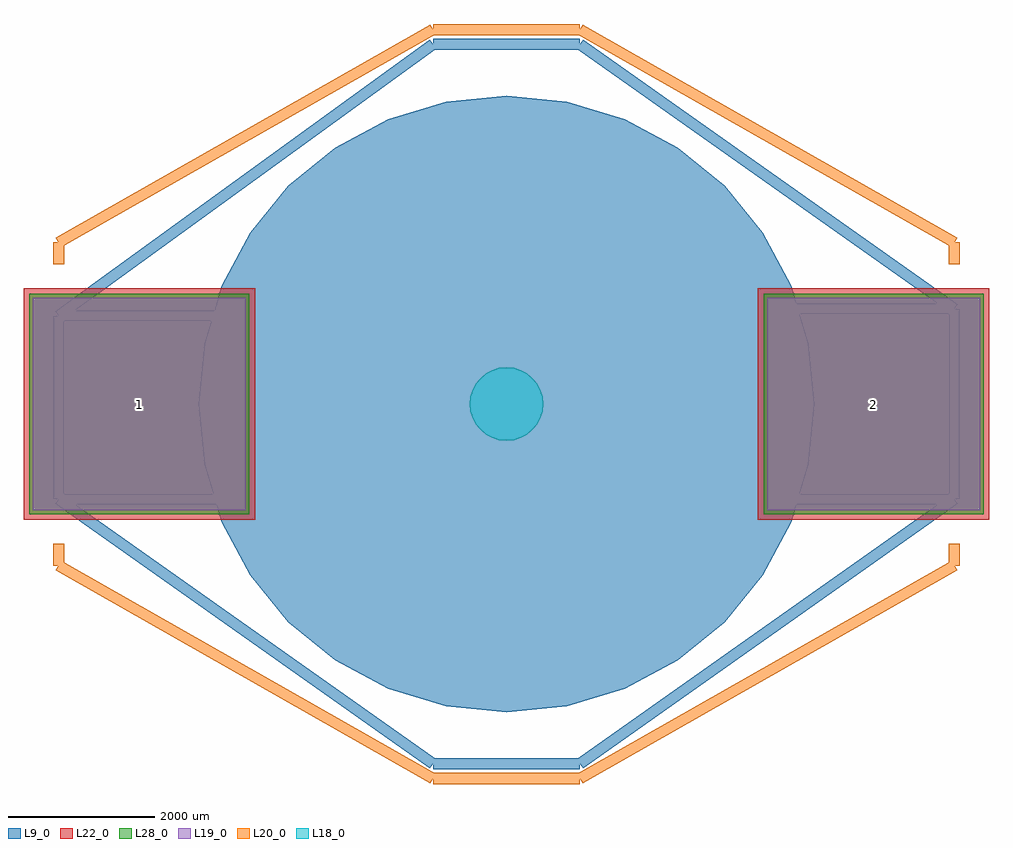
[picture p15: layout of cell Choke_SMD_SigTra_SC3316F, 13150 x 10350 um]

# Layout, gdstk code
import gdstk
lib = gdstk.Library(unit=1e-6, precision=1e-09)
def R(c, l, rs):  # rectangles x0, y0, x1, y1
    for r in rs: c.add(gdstk.rectangle(r[:2], r[2:], *l))
def P(c, l, *ps):  # polygons
    for p in ps: c.add(gdstk.Polygon(p, *l))
L9_0 = (9, 0)
L18_0 = (18, 0)
L19_0 = (19, 0)
L20_0 = (20, 0)
L22_0 = (22, 0)
L28_0 = (28, 0)

choke_smd_sigtra_sc3316f = lib.new_cell('Choke_SMD_SigTra_SC3316F')
P(choke_smd_sigtra_sc3316f, L9_0, [(4200,0),(4119.298,819.379),(3880.294,1607.27),(3492.172,2333.395),(2969.848,2969.848),(2333.395,3492.172),(1607.27,3880.294),(819.379,4119.298),(0,4200),(-819.379,4119.298),(-1607.27,3880.294),(-2333.395,3492.172),(-2969.848,2969.848),(-3492.172,2333.395),(-3880.294,1607.27),(-4119.298,819.379),(-4200,0),(-4119.298,-819.379),(-3880.294,-1607.27),(-3492.172,-2333.395),(-2969.848,-2969.848),(-2333.395,-3492.172),(-1607.27,-3880.294),(-819.379,-4119.298),(0,-4200),(819.379,-4119.298),(1607.27,-3880.294),(2333.395,-3492.172),(2969.848,-2969.848),(3492.172,-2333.395),(3880.294,-1607.27),(4119.298,-819.379)])
P(choke_smd_sigtra_sc3316f, L18_0, [(500,0),(490.393,97.545),(461.94,191.342),(415.735,277.785),(353.553,353.553),(277.785,415.735),(191.342,461.94),(97.545,490.393),(0,500),(-97.545,490.393),(-191.342,461.94),(-277.785,415.735),(-353.553,353.553),(-415.735,277.785),(-461.94,191.342),(-490.393,97.545),(-500,0),(-490.393,-97.545),(-461.94,-191.342),(-415.735,-277.785),(-353.553,-353.553),(-277.785,-415.735),(-191.342,-461.94),(-97.545,-490.393),(0,-500),(97.545,-490.393),(191.342,-461.94),(277.785,-415.735),(353.553,-353.553),(415.735,-277.785),(461.94,-191.342),(490.393,-97.545)])
R(choke_smd_sigtra_sc3316f, L19_0, [(-6450,-1450,-3550,1450), (3550,-1450,6450,1450)])
R(choke_smd_sigtra_sc3316f, L22_0, [(-6575,-1575,-3425,1575), (3425,-1575,6575,1575)])
R(choke_smd_sigtra_sc3316f, L28_0, [(-6500,-1500,-3500,1500), (3500,-1500,6500,1500)])
choke_smd_sigtra_sc3316f.add(gdstk.FlexPath([(1000,-4900),(-1000,-4900)], 149.998, ends="flush", simple_path=True, layer=9, datatype=0))  # L9_0
choke_smd_sigtra_sc3316f.add(gdstk.FlexPath([(-3600,1200),(-3600,0)], 149.998, ends="flush", simple_path=True, layer=9, datatype=0))  # L9_0
choke_smd_sigtra_sc3316f.add(gdstk.FlexPath([(-6100,1200),(-3600,1200)], 149.998, ends="flush", simple_path=True, layer=9, datatype=0))  # L9_0
choke_smd_sigtra_sc3316f.add(gdstk.FlexPath([(-6100,-1300),(-6100,1200)], 149.998, ends="flush", simple_path=True, layer=9, datatype=0))  # L9_0
choke_smd_sigtra_sc3316f.add(gdstk.FlexPath([(-3600,-1300),(-6100,-1300)], 149.998, ends="flush", simple_path=True, layer=9, datatype=0))  # L9_0
choke_smd_sigtra_sc3316f.add(gdstk.FlexPath([(-3600,0),(-3600,-1300)], 149.998, ends="flush", simple_path=True, layer=9, datatype=0))  # L9_0
choke_smd_sigtra_sc3316f.add(gdstk.FlexPath([(6100,-1300),(3600,-1300)], 149.998, ends="flush", simple_path=True, layer=9, datatype=0))  # L9_0
choke_smd_sigtra_sc3316f.add(gdstk.FlexPath([(6100,1300),(6100,-1300)], 149.998, ends="flush", simple_path=True, layer=9, datatype=0))  # L9_0
choke_smd_sigtra_sc3316f.add(gdstk.FlexPath([(3600,1300),(6100,1300)], 149.998, ends="flush", simple_path=True, layer=9, datatype=0))  # L9_0
choke_smd_sigtra_sc3316f.add(gdstk.FlexPath([(3600,-1300),(3600,1300)], 149.998, ends="flush", simple_path=True, layer=9, datatype=0))  # L9_0
choke_smd_sigtra_sc3316f.add(gdstk.FlexPath([(-1000,4900),(-6100,1200)], 149.998, ends="flush", simple_path=True, layer=9, datatype=0))  # L9_0
choke_smd_sigtra_sc3316f.add(gdstk.FlexPath([(1000,4900),(-1000,4900)], 149.998, ends="flush", simple_path=True, layer=9, datatype=0))  # L9_0
choke_smd_sigtra_sc3316f.add(gdstk.FlexPath([(1000,4900),(6100,1300)], 149.998, ends="flush", simple_path=True, layer=9, datatype=0))  # L9_0
choke_smd_sigtra_sc3316f.add(gdstk.FlexPath([(6100,-1300),(1000,-4900)], 149.998, ends="flush", simple_path=True, layer=9, datatype=0))  # L9_0
choke_smd_sigtra_sc3316f.add(gdstk.FlexPath([(-1000,-4900),(-6100,-1300)], 149.998, ends="flush", simple_path=True, layer=9, datatype=0))  # L9_0
choke_smd_sigtra_sc3316f.add(gdstk.FlexPath([(1000,5100),(-1000,5100)], 149.998, ends="flush", simple_path=True, layer=20, datatype=0))  # L20_0
choke_smd_sigtra_sc3316f.add(gdstk.FlexPath([(1000,-5100),(-1000,-5100)], 149.998, ends="flush", simple_path=True, layer=20, datatype=0))  # L20_0
choke_smd_sigtra_sc3316f.add(gdstk.FlexPath([(-6100,2200),(-1000,5100)], 149.998, ends="flush", simple_path=True, layer=20, datatype=0))  # L20_0
choke_smd_sigtra_sc3316f.add(gdstk.FlexPath([(-6100,1900),(-6100,2200)], 149.998, ends="flush", simple_path=True, layer=20, datatype=0))  # L20_0
choke_smd_sigtra_sc3316f.add(gdstk.FlexPath([(-6100,-2200),(-1000,-5100)], 149.998, ends="flush", simple_path=True, layer=20, datatype=0))  # L20_0
choke_smd_sigtra_sc3316f.add(gdstk.FlexPath([(-6100,-1900),(-6100,-2200)], 149.998, ends="flush", simple_path=True, layer=20, datatype=0))  # L20_0
choke_smd_sigtra_sc3316f.add(gdstk.FlexPath([(6100,-2200),(1000,-5100)], 149.998, ends="flush", simple_path=True, layer=20, datatype=0))  # L20_0
choke_smd_sigtra_sc3316f.add(gdstk.FlexPath([(6100,-1900),(6100,-2200)], 149.998, ends="flush", simple_path=True, layer=20, datatype=0))  # L20_0
choke_smd_sigtra_sc3316f.add(gdstk.FlexPath([(6100,2200),(1000,5100)], 149.998, ends="flush", simple_path=True, layer=20, datatype=0))  # L20_0
choke_smd_sigtra_sc3316f.add(gdstk.FlexPath([(6100,1900),(6100,2200)], 149.998, ends="flush", simple_path=True, layer=20, datatype=0))  # L20_0
choke_smd_sigtra_sc3316f.add(gdstk.Label('2', (5000,0), layer=28, texttype=0))
choke_smd_sigtra_sc3316f.add(gdstk.Label('1', (-5000,0), layer=28, texttype=0))
choke_smd_sigtra_sc3316f.add(gdstk.Label('type', (0,6000), layer=9, texttype=0))
choke_smd_sigtra_sc3316f.add(gdstk.Label('devicename', (0,-6200), layer=9, texttype=0))

lib.write_gds('Choke_SMD_SigTra_SC3316F.gds')
